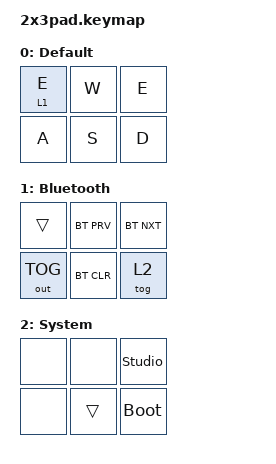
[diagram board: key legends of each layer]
/*
 * Copyright (c) 2025 The ZMK Contributors
 *
 * SPDX-License-Identifier: MIT
 */

#include <behaviors.dtsi>
#include <dt-bindings/zmk/keys.h>
#include <dt-bindings/zmk/bt.h>
#include <dt-bindings/zmk/outputs.h>

/ {
    keymap {
        compatible = "zmk,keymap";


        default_layer {
            label = "Default";
            bindings = <
                &lt 1 E     &kp W     &kp E
                &kp A       &kp S     &kp D
            >;
        };

        layer_1 {
            label = "Bluetooth";
            bindings = <
                &trans    &bt BT_PRV    &bt BT_NXT
                &out OUT_TOG  &bt BT_CLR        &tog 2
            >;
        };

        layer_2 {
            label = "System";
            bindings = <
                &none &none &studio_unlock
                &none &trans &bootloader
            >;
        };

        extra1 {
            status = "reserved";
        };

        extra2 {
            status = "reserved";
        };
    };
};
